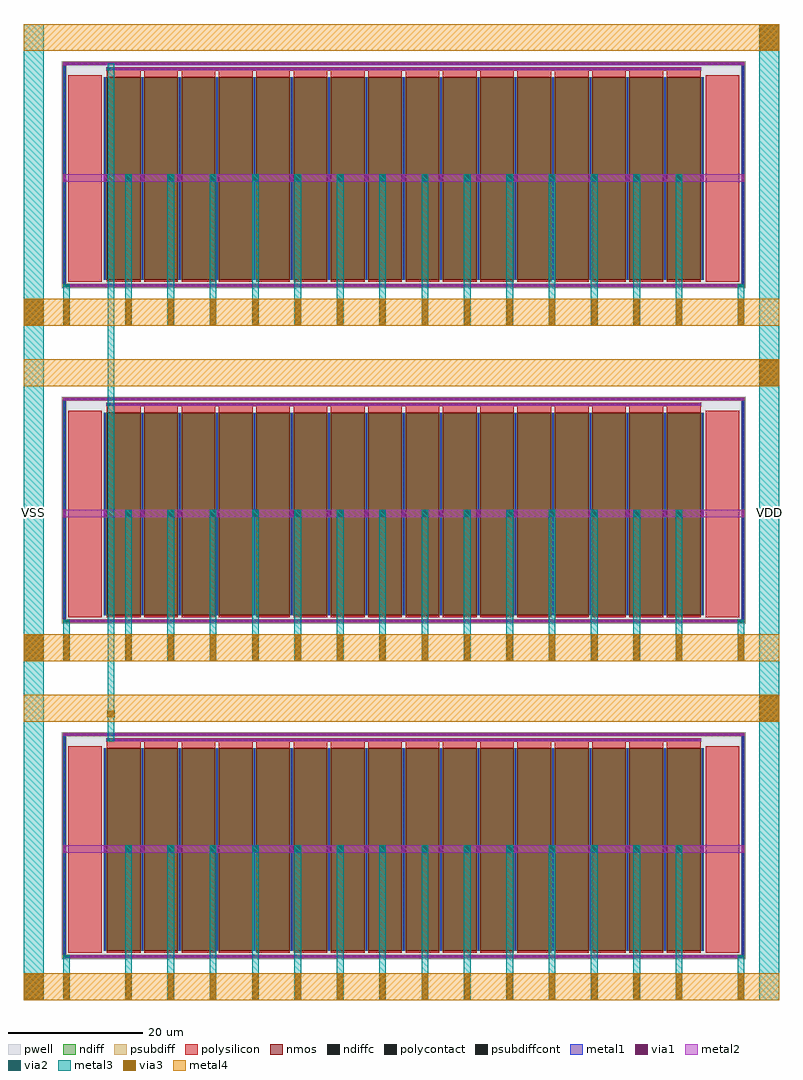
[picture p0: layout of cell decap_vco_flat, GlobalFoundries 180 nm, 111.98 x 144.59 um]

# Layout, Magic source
magic
tech gf180mcuD
magscale 1 10
<< pwell >>
rect 1132 1212 21396 7939
rect 1132 11152 21396 17879
rect 1132 21092 21396 27819
<< ndiff >>
rect 2380 1460 20148 7460
rect 2380 11400 20148 17400
rect 2380 21340 20148 27340
<< psubdiff >>
rect 1156 1236 21372 1340
rect 1156 7811 21372 7915
rect 1156 1340 1260 7811
rect 21268 1340 21372 7811
rect 1156 11176 21372 11280
rect 1156 17751 21372 17855
rect 1156 11280 1260 17751
rect 21268 11280 21372 17751
rect 1156 21116 21372 21220
rect 1156 27691 21372 27795
rect 1156 21220 1260 27691
rect 21268 21220 21372 27691
<< nmos >>
rect 2469 1460 3469 7460
rect 3575 1460 4575 7460
rect 4681 1460 5681 7460
rect 5787 1460 6787 7460
rect 6893 1460 7893 7460
rect 7999 1460 8999 7460
rect 9105 1460 10105 7460
rect 10211 1460 11211 7460
rect 11317 1460 12317 7460
rect 12423 1460 13423 7460
rect 13529 1460 14529 7460
rect 14635 1460 15635 7460
rect 15741 1460 16741 7460
rect 16847 1460 17847 7460
rect 17953 1460 18953 7460
rect 19059 1460 20059 7460
rect 2469 11400 3469 17400
rect 3575 11400 4575 17400
rect 4681 11400 5681 17400
rect 5787 11400 6787 17400
rect 6893 11400 7893 17400
rect 7999 11400 8999 17400
rect 9105 11400 10105 17400
rect 10211 11400 11211 17400
rect 11317 11400 12317 17400
rect 12423 11400 13423 17400
rect 13529 11400 14529 17400
rect 14635 11400 15635 17400
rect 15741 11400 16741 17400
rect 16847 11400 17847 17400
rect 17953 11400 18953 17400
rect 19059 11400 20059 17400
rect 2469 21340 3469 27340
rect 3575 21340 4575 27340
rect 4681 21340 5681 27340
rect 5787 21340 6787 27340
rect 6893 21340 7893 27340
rect 7999 21340 8999 27340
rect 9105 21340 10105 27340
rect 10211 21340 11211 27340
rect 11317 21340 12317 27340
rect 12423 21340 13423 27340
rect 13529 21340 14529 27340
rect 14635 21340 15635 27340
rect 15741 21340 16741 27340
rect 16847 21340 17847 27340
rect 17953 21340 18953 27340
rect 19059 21340 20059 27340
<< polysilicon >>
rect 2469 7460 3469 7649
rect 3575 7460 4575 7649
rect 4681 7460 5681 7649
rect 5787 7460 6787 7649
rect 6893 7460 7893 7649
rect 7999 7460 8999 7649
rect 9105 7460 10105 7649
rect 10211 7460 11211 7649
rect 11317 7460 12317 7649
rect 12423 7460 13423 7649
rect 13529 7460 14529 7649
rect 14635 7460 15635 7649
rect 15741 7460 16741 7649
rect 16847 7460 17847 7649
rect 17953 7460 18953 7649
rect 19059 7460 20059 7649
rect 2449 7649 20079 7751
rect 2469 1400 3469 1460
rect 3575 1400 4575 1460
rect 4681 1400 5681 1460
rect 5787 1400 6787 1460
rect 6893 1400 7893 1460
rect 7999 1400 8999 1460
rect 9105 1400 10105 1460
rect 10211 1400 11211 1460
rect 11317 1400 12317 1460
rect 12423 1400 13423 1460
rect 13529 1400 14529 1460
rect 14635 1400 15635 1460
rect 15741 1400 16741 1460
rect 16847 1400 17847 1460
rect 17953 1400 18953 1460
rect 19059 1400 20059 1460
rect 1320 1400 2320 7520
rect 20208 1400 21208 7520
rect 2469 17400 3469 17589
rect 3575 17400 4575 17589
rect 4681 17400 5681 17589
rect 5787 17400 6787 17589
rect 6893 17400 7893 17589
rect 7999 17400 8999 17589
rect 9105 17400 10105 17589
rect 10211 17400 11211 17589
rect 11317 17400 12317 17589
rect 12423 17400 13423 17589
rect 13529 17400 14529 17589
rect 14635 17400 15635 17589
rect 15741 17400 16741 17589
rect 16847 17400 17847 17589
rect 17953 17400 18953 17589
rect 19059 17400 20059 17589
rect 2449 17589 20079 17691
rect 2469 11340 3469 11400
rect 3575 11340 4575 11400
rect 4681 11340 5681 11400
rect 5787 11340 6787 11400
rect 6893 11340 7893 11400
rect 7999 11340 8999 11400
rect 9105 11340 10105 11400
rect 10211 11340 11211 11400
rect 11317 11340 12317 11400
rect 12423 11340 13423 11400
rect 13529 11340 14529 11400
rect 14635 11340 15635 11400
rect 15741 11340 16741 11400
rect 16847 11340 17847 11400
rect 17953 11340 18953 11400
rect 19059 11340 20059 11400
rect 1320 11340 2320 17460
rect 20208 11340 21208 17460
rect 2469 27340 3469 27529
rect 3575 27340 4575 27529
rect 4681 27340 5681 27529
rect 5787 27340 6787 27529
rect 6893 27340 7893 27529
rect 7999 27340 8999 27529
rect 9105 27340 10105 27529
rect 10211 27340 11211 27529
rect 11317 27340 12317 27529
rect 12423 27340 13423 27529
rect 13529 27340 14529 27529
rect 14635 27340 15635 27529
rect 15741 27340 16741 27529
rect 16847 27340 17847 27529
rect 17953 27340 18953 27529
rect 19059 27340 20059 27529
rect 2449 27529 20079 27631
rect 2469 21280 3469 21340
rect 3575 21280 4575 21340
rect 4681 21280 5681 21340
rect 5787 21280 6787 21340
rect 6893 21280 7893 21340
rect 7999 21280 8999 21340
rect 9105 21280 10105 21340
rect 10211 21280 11211 21340
rect 11317 21280 12317 21340
rect 12423 21280 13423 21340
rect 13529 21280 14529 21340
rect 14635 21280 15635 21340
rect 15741 21280 16741 21340
rect 16847 21280 17847 21340
rect 17953 21280 18953 21340
rect 19059 21280 20059 21340
rect 1320 21280 2320 27400
rect 20208 21280 21208 27400
<< ndiffc >>
rect 2393 1473 2439 7447
rect 3499 1473 3545 7447
rect 4605 1473 4651 7447
rect 5711 1473 5757 7447
rect 6817 1473 6863 7447
rect 7923 1473 7969 7447
rect 9029 1473 9075 7447
rect 10135 1473 10181 7447
rect 11241 1473 11287 7447
rect 12347 1473 12393 7447
rect 13453 1473 13499 7447
rect 14559 1473 14605 7447
rect 15665 1473 15711 7447
rect 16771 1473 16817 7447
rect 17877 1473 17923 7447
rect 18983 1473 19029 7447
rect 20089 1473 20135 7447
rect 2393 11413 2439 17387
rect 3499 11413 3545 17387
rect 4605 11413 4651 17387
rect 5711 11413 5757 17387
rect 6817 11413 6863 17387
rect 7923 11413 7969 17387
rect 9029 11413 9075 17387
rect 10135 11413 10181 17387
rect 11241 11413 11287 17387
rect 12347 11413 12393 17387
rect 13453 11413 13499 17387
rect 14559 11413 14605 17387
rect 15665 11413 15711 17387
rect 16771 11413 16817 17387
rect 17877 11413 17923 17387
rect 18983 11413 19029 17387
rect 20089 11413 20135 17387
rect 2393 21353 2439 27327
rect 3499 21353 3545 27327
rect 4605 21353 4651 27327
rect 5711 21353 5757 27327
rect 6817 21353 6863 27327
rect 7923 21353 7969 27327
rect 9029 21353 9075 27327
rect 10135 21353 10181 27327
rect 11241 21353 11287 27327
rect 12347 21353 12393 27327
rect 13453 21353 13499 27327
rect 14559 21353 14605 27327
rect 15665 21353 15711 27327
rect 16771 21353 16817 27327
rect 17877 21353 17923 27327
rect 18983 21353 19029 27327
rect 20089 21353 20135 27327
<< psubdiffcont >>
rect 1169 1260 1247 7891
rect 21281 1260 21359 7891
rect 1307 7824 21221 7902
rect 1307 1249 21221 1327
rect 1169 11200 1247 17831
rect 21281 11200 21359 17831
rect 1307 17764 21221 17842
rect 1307 11189 21221 11267
rect 1169 21140 1247 27771
rect 21281 21140 21359 27771
rect 1307 27704 21221 27782
rect 1307 21129 21221 21207
<< polycontact >>
rect 2462 7662 20066 7738
rect 2462 17602 20066 17678
rect 2462 27542 20066 27618
<< metal1 >>
rect 2393 1462 2439 7458
rect 3499 1462 3545 7458
rect 4605 1462 4651 7458
rect 5711 1462 5757 7458
rect 6817 1462 6863 7458
rect 7923 1462 7969 7458
rect 9029 1462 9075 7458
rect 10135 1462 10181 7458
rect 11241 1462 11287 7458
rect 12347 1462 12393 7458
rect 13453 1462 13499 7458
rect 14559 1462 14605 7458
rect 15665 1462 15711 7458
rect 16771 1462 16817 7458
rect 17877 1462 17923 7458
rect 18983 1462 19029 7458
rect 20089 1462 20135 7458
rect 2378 4368 2454 4592
rect 3484 4368 3560 4592
rect 4590 4368 4666 4592
rect 5696 4368 5772 4592
rect 6802 4368 6878 4592
rect 7908 4368 7984 4592
rect 9014 4368 9090 4592
rect 10120 4368 10196 4592
rect 11226 4368 11302 4592
rect 12332 4368 12408 4592
rect 13438 4368 13514 4592
rect 14544 4368 14620 4592
rect 15650 4368 15726 4592
rect 16756 4368 16832 4592
rect 17862 4368 17938 4592
rect 18968 4368 19044 4592
rect 20074 4368 20150 4592
rect 2451 7662 20077 7738
rect 1169 1249 21359 1327
rect 1169 7824 21359 7902
rect 1169 1249 1247 7902
rect 21281 1249 21359 7902
rect 1169 1249 21359 1327
rect 1169 7824 21359 7902
rect 2393 11402 2439 17398
rect 3499 11402 3545 17398
rect 4605 11402 4651 17398
rect 5711 11402 5757 17398
rect 6817 11402 6863 17398
rect 7923 11402 7969 17398
rect 9029 11402 9075 17398
rect 10135 11402 10181 17398
rect 11241 11402 11287 17398
rect 12347 11402 12393 17398
rect 13453 11402 13499 17398
rect 14559 11402 14605 17398
rect 15665 11402 15711 17398
rect 16771 11402 16817 17398
rect 17877 11402 17923 17398
rect 18983 11402 19029 17398
rect 20089 11402 20135 17398
rect 2378 14308 2454 14532
rect 3484 14308 3560 14532
rect 4590 14308 4666 14532
rect 5696 14308 5772 14532
rect 6802 14308 6878 14532
rect 7908 14308 7984 14532
rect 9014 14308 9090 14532
rect 10120 14308 10196 14532
rect 11226 14308 11302 14532
rect 12332 14308 12408 14532
rect 13438 14308 13514 14532
rect 14544 14308 14620 14532
rect 15650 14308 15726 14532
rect 16756 14308 16832 14532
rect 17862 14308 17938 14532
rect 18968 14308 19044 14532
rect 20074 14308 20150 14532
rect 2451 17602 20077 17678
rect 1169 11189 21359 11267
rect 1169 17764 21359 17842
rect 1169 11189 1247 17842
rect 21281 11189 21359 17842
rect 1169 11189 21359 11267
rect 1169 17764 21359 17842
rect 2393 21342 2439 27338
rect 3499 21342 3545 27338
rect 4605 21342 4651 27338
rect 5711 21342 5757 27338
rect 6817 21342 6863 27338
rect 7923 21342 7969 27338
rect 9029 21342 9075 27338
rect 10135 21342 10181 27338
rect 11241 21342 11287 27338
rect 12347 21342 12393 27338
rect 13453 21342 13499 27338
rect 14559 21342 14605 27338
rect 15665 21342 15711 27338
rect 16771 21342 16817 27338
rect 17877 21342 17923 27338
rect 18983 21342 19029 27338
rect 20089 21342 20135 27338
rect 2378 24248 2454 24472
rect 3484 24248 3560 24472
rect 4590 24248 4666 24472
rect 5696 24248 5772 24472
rect 6802 24248 6878 24472
rect 7908 24248 7984 24472
rect 9014 24248 9090 24472
rect 10120 24248 10196 24472
rect 11226 24248 11302 24472
rect 12332 24248 12408 24472
rect 13438 24248 13514 24472
rect 14544 24248 14620 24472
rect 15650 24248 15726 24472
rect 16756 24248 16832 24472
rect 17862 24248 17938 24472
rect 18968 24248 19044 24472
rect 20074 24248 20150 24472
rect 2451 27542 20077 27618
rect 1169 21129 21359 21207
rect 1169 27704 21359 27782
rect 1169 21129 1247 27782
rect 21281 21129 21359 27782
rect 1169 21129 21359 21207
rect 1169 27704 21359 27782
<< metal2 >>
rect 1169 1249 1369 1327
rect 21159 1249 21359 1327
rect 1169 11189 1369 11267
rect 21159 11189 21359 11267
rect 1169 21129 1369 21207
rect 21159 21129 21359 21207
rect 2482 7662 2558 7738
rect 2482 17602 2558 17678
rect 2482 27542 2558 27618
rect 2462 7662 20066 7738
rect 1169 1249 21359 1327
rect 1169 7824 21359 7902
rect 1169 4368 21359 4592
rect 2462 17602 20066 17678
rect 1169 11189 21359 11267
rect 1169 17764 21359 17842
rect 1169 14308 21359 14532
rect 2462 27542 20066 27618
rect 1169 21129 21359 21207
rect 1169 27704 21359 27782
rect 1169 24248 21359 24472
<< metal3 >>
rect 0 0 600 28919
rect 21796 0 22396 28919
rect 1169 0 1369 1327
rect 21159 0 21359 1327
rect 3006 0 3206 4592
rect 4261 0 4461 4592
rect 5516 0 5716 4592
rect 6771 0 6971 4592
rect 8026 0 8226 4592
rect 9281 0 9481 4592
rect 10536 0 10736 4592
rect 11792 0 11992 4592
rect 13047 0 13247 4592
rect 14302 0 14502 4592
rect 15557 0 15757 4592
rect 16812 0 17012 4592
rect 18067 0 18267 4592
rect 19322 0 19522 4592
rect 1169 10039 1369 11267
rect 21159 10039 21359 11267
rect 3006 10039 3206 14532
rect 4261 10039 4461 14532
rect 5516 10039 5716 14532
rect 6771 10039 6971 14532
rect 8026 10039 8226 14532
rect 9281 10039 9481 14532
rect 10536 10039 10736 14532
rect 11792 10039 11992 14532
rect 13047 10039 13247 14532
rect 14302 10039 14502 14532
rect 15557 10039 15757 14532
rect 16812 10039 17012 14532
rect 18067 10039 18267 14532
rect 19322 10039 19522 14532
rect 1169 19979 1369 21207
rect 21159 19979 21359 21207
rect 3006 19979 3206 24472
rect 4261 19979 4461 24472
rect 5516 19979 5716 24472
rect 6771 19979 6971 24472
rect 8026 19979 8226 24472
rect 9281 19979 9481 24472
rect 10536 19979 10736 24472
rect 11792 19979 11992 24472
rect 13047 19979 13247 24472
rect 14302 19979 14502 24472
rect 15557 19979 15757 24472
rect 16812 19979 17012 24472
rect 18067 19979 18267 24472
rect 19322 19979 19522 24472
rect 2482 7662 2558 7738
rect 2490 7670 2690 8010
rect 2490 7810 2690 8150
rect 2490 7950 2690 8290
rect 2490 8090 2690 8430
rect 2490 8230 2690 8570
rect 2482 8362 2698 8578
rect 2490 7670 2690 7870
rect 2490 7810 2690 8010
rect 2490 7950 2690 8150
rect 2490 8090 2690 8290
rect 2490 8230 2690 8430
rect 2490 8370 2690 8570
rect 2482 17602 2558 17678
rect 2490 17470 2690 17810
rect 2490 17330 2690 17670
rect 2490 17190 2690 17530
rect 2490 17050 2690 17390
rect 2490 16910 2690 17250
rect 2490 16770 2690 17110
rect 2490 16630 2690 16970
rect 2490 16490 2690 16830
rect 2490 16350 2690 16690
rect 2490 16210 2690 16550
rect 2490 16070 2690 16410
rect 2490 15930 2690 16270
rect 2490 15790 2690 16130
rect 2490 15650 2690 15990
rect 2490 15510 2690 15850
rect 2490 15370 2690 15710
rect 2490 15230 2690 15570
rect 2490 15090 2690 15430
rect 2490 14950 2690 15290
rect 2490 14810 2690 15150
rect 2490 14670 2690 15010
rect 2490 14530 2690 14870
rect 2490 14390 2690 14730
rect 2490 14250 2690 14590
rect 2490 14110 2690 14450
rect 2490 13970 2690 14310
rect 2490 13830 2690 14170
rect 2490 13690 2690 14030
rect 2490 13550 2690 13890
rect 2490 13410 2690 13750
rect 2490 13270 2690 13610
rect 2490 13130 2690 13470
rect 2490 12990 2690 13330
rect 2490 12850 2690 13190
rect 2490 12710 2690 13050
rect 2490 12570 2690 12910
rect 2490 12430 2690 12770
rect 2490 12290 2690 12630
rect 2490 12150 2690 12490
rect 2490 12010 2690 12350
rect 2490 11870 2690 12210
rect 2490 11730 2690 12070
rect 2490 11590 2690 11930
rect 2490 11450 2690 11790
rect 2490 11310 2690 11650
rect 2490 11170 2690 11510
rect 2490 11030 2690 11370
rect 2490 10890 2690 11230
rect 2490 10750 2690 11090
rect 2490 10610 2690 10950
rect 2490 10470 2690 10810
rect 2490 10330 2690 10670
rect 2490 10190 2690 10530
rect 2490 10050 2690 10390
rect 2490 9910 2690 10250
rect 2490 9770 2690 10110
rect 2490 9630 2690 9970
rect 2490 9490 2690 9830
rect 2490 9350 2690 9690
rect 2490 9210 2690 9550
rect 2490 9070 2690 9410
rect 2490 8930 2690 9270
rect 2490 8790 2690 9130
rect 2490 8650 2690 8990
rect 2490 8510 2690 8850
rect 2490 8370 2690 8710
rect 2490 17610 2690 17810
rect 2490 17470 2690 17670
rect 2490 17330 2690 17530
rect 2490 17190 2690 17390
rect 2490 17050 2690 17250
rect 2490 16910 2690 17110
rect 2490 16770 2690 16970
rect 2490 16630 2690 16830
rect 2490 16490 2690 16690
rect 2490 16350 2690 16550
rect 2490 16210 2690 16410
rect 2490 16070 2690 16270
rect 2490 15930 2690 16130
rect 2490 15790 2690 15990
rect 2490 15650 2690 15850
rect 2490 15510 2690 15710
rect 2490 15370 2690 15570
rect 2490 15230 2690 15430
rect 2490 15090 2690 15290
rect 2490 14950 2690 15150
rect 2490 14810 2690 15010
rect 2490 14670 2690 14870
rect 2490 14530 2690 14730
rect 2490 14390 2690 14590
rect 2490 14250 2690 14450
rect 2490 14110 2690 14310
rect 2490 13970 2690 14170
rect 2490 13830 2690 14030
rect 2490 13690 2690 13890
rect 2490 13550 2690 13750
rect 2490 13410 2690 13610
rect 2490 13270 2690 13470
rect 2490 13130 2690 13330
rect 2490 12990 2690 13190
rect 2490 12850 2690 13050
rect 2490 12710 2690 12910
rect 2490 12570 2690 12770
rect 2490 12430 2690 12630
rect 2490 12290 2690 12490
rect 2490 12150 2690 12350
rect 2490 12010 2690 12210
rect 2490 11870 2690 12070
rect 2490 11730 2690 11930
rect 2490 11590 2690 11790
rect 2490 11450 2690 11650
rect 2490 11310 2690 11510
rect 2490 11170 2690 11370
rect 2490 11030 2690 11230
rect 2490 10890 2690 11090
rect 2490 10750 2690 10950
rect 2490 10610 2690 10810
rect 2490 10470 2690 10670
rect 2490 10330 2690 10530
rect 2490 10190 2690 10390
rect 2490 10050 2690 10250
rect 2490 9910 2690 10110
rect 2490 9770 2690 9970
rect 2490 9630 2690 9830
rect 2490 9490 2690 9690
rect 2490 9350 2690 9550
rect 2490 9210 2690 9410
rect 2490 9070 2690 9270
rect 2490 8930 2690 9130
rect 2490 8790 2690 8990
rect 2490 8650 2690 8850
rect 2490 8510 2690 8710
rect 2490 8370 2690 8570
rect 2482 27542 2558 27618
rect 2490 27410 2690 27750
rect 2490 27270 2690 27610
rect 2490 27130 2690 27470
rect 2490 26990 2690 27330
rect 2490 26850 2690 27190
rect 2490 26710 2690 27050
rect 2490 26570 2690 26910
rect 2490 26430 2690 26770
rect 2490 26290 2690 26630
rect 2490 26150 2690 26490
rect 2490 26010 2690 26350
rect 2490 25870 2690 26210
rect 2490 25730 2690 26070
rect 2490 25590 2690 25930
rect 2490 25450 2690 25790
rect 2490 25310 2690 25650
rect 2490 25170 2690 25510
rect 2490 25030 2690 25370
rect 2490 24890 2690 25230
rect 2490 24750 2690 25090
rect 2490 24610 2690 24950
rect 2490 24470 2690 24810
rect 2490 24330 2690 24670
rect 2490 24190 2690 24530
rect 2490 24050 2690 24390
rect 2490 23910 2690 24250
rect 2490 23770 2690 24110
rect 2490 23630 2690 23970
rect 2490 23490 2690 23830
rect 2490 23350 2690 23690
rect 2490 23210 2690 23550
rect 2490 23070 2690 23410
rect 2490 22930 2690 23270
rect 2490 22790 2690 23130
rect 2490 22650 2690 22990
rect 2490 22510 2690 22850
rect 2490 22370 2690 22710
rect 2490 22230 2690 22570
rect 2490 22090 2690 22430
rect 2490 21950 2690 22290
rect 2490 21810 2690 22150
rect 2490 21670 2690 22010
rect 2490 21530 2690 21870
rect 2490 21390 2690 21730
rect 2490 21250 2690 21590
rect 2490 21110 2690 21450
rect 2490 20970 2690 21310
rect 2490 20830 2690 21170
rect 2490 20690 2690 21030
rect 2490 20550 2690 20890
rect 2490 20410 2690 20750
rect 2490 20270 2690 20610
rect 2490 20130 2690 20470
rect 2490 19990 2690 20330
rect 2490 19850 2690 20190
rect 2490 19710 2690 20050
rect 2490 19570 2690 19910
rect 2490 19430 2690 19770
rect 2490 19290 2690 19630
rect 2490 19150 2690 19490
rect 2490 19010 2690 19350
rect 2490 18870 2690 19210
rect 2490 18730 2690 19070
rect 2490 18590 2690 18930
rect 2490 18450 2690 18790
rect 2490 18310 2690 18650
rect 2490 18170 2690 18510
rect 2490 18030 2690 18370
rect 2490 17890 2690 18230
rect 2490 17750 2690 18090
rect 2490 17610 2690 17950
rect 2490 27550 2690 27750
rect 2490 27410 2690 27610
rect 2490 27270 2690 27470
rect 2490 27130 2690 27330
rect 2490 26990 2690 27190
rect 2490 26850 2690 27050
rect 2490 26710 2690 26910
rect 2490 26570 2690 26770
rect 2490 26430 2690 26630
rect 2490 26290 2690 26490
rect 2490 26150 2690 26350
rect 2490 26010 2690 26210
rect 2490 25870 2690 26070
rect 2490 25730 2690 25930
rect 2490 25590 2690 25790
rect 2490 25450 2690 25650
rect 2490 25310 2690 25510
rect 2490 25170 2690 25370
rect 2490 25030 2690 25230
rect 2490 24890 2690 25090
rect 2490 24750 2690 24950
rect 2490 24610 2690 24810
rect 2490 24470 2690 24670
rect 2490 24330 2690 24530
rect 2490 24190 2690 24390
rect 2490 24050 2690 24250
rect 2490 23910 2690 24110
rect 2490 23770 2690 23970
rect 2490 23630 2690 23830
rect 2490 23490 2690 23690
rect 2490 23350 2690 23550
rect 2490 23210 2690 23410
rect 2490 23070 2690 23270
rect 2490 22930 2690 23130
rect 2490 22790 2690 22990
rect 2490 22650 2690 22850
rect 2490 22510 2690 22710
rect 2490 22370 2690 22570
rect 2490 22230 2690 22430
rect 2490 22090 2690 22290
rect 2490 21950 2690 22150
rect 2490 21810 2690 22010
rect 2490 21670 2690 21870
rect 2490 21530 2690 21730
rect 2490 21390 2690 21590
rect 2490 21250 2690 21450
rect 2490 21110 2690 21310
rect 2490 20970 2690 21170
rect 2490 20830 2690 21030
rect 2490 20690 2690 20890
rect 2490 20550 2690 20750
rect 2490 20410 2690 20610
rect 2490 20270 2690 20470
rect 2490 20130 2690 20330
rect 2490 19990 2690 20190
rect 2490 19850 2690 20050
rect 2490 19710 2690 19910
rect 2490 19570 2690 19770
rect 2490 19430 2690 19630
rect 2490 19290 2690 19490
rect 2490 19150 2690 19350
rect 2490 19010 2690 19210
rect 2490 18870 2690 19070
rect 2490 18730 2690 18930
rect 2490 18590 2690 18790
rect 2490 18450 2690 18650
rect 2490 18310 2690 18510
rect 2490 18170 2690 18370
rect 2490 18030 2690 18230
rect 2490 17890 2690 18090
rect 2490 17750 2690 17950
rect 2490 17610 2690 17810
<< metal4 >>
rect 0 0 22396 800
rect 0 8239 22396 9039
rect 0 10039 22396 10839
rect 0 18179 22396 18979
rect 0 19979 22396 20779
rect 0 28119 22396 28919
rect 2482 8362 2698 8578
rect 2490 8370 2690 8570
<< via1 >>
rect 2390 4380 2442 4580
rect 3496 4380 3548 4580
rect 4602 4380 4654 4580
rect 5708 4380 5760 4580
rect 6814 4380 6866 4580
rect 7920 4380 7972 4580
rect 9026 4380 9078 4580
rect 10132 4380 10184 4580
rect 11238 4380 11290 4580
rect 12344 4380 12396 4580
rect 13450 4380 13502 4580
rect 14556 4380 14608 4580
rect 15662 4380 15714 4580
rect 16768 4380 16820 4580
rect 17874 4380 17926 4580
rect 18980 4380 19032 4580
rect 20086 4380 20138 4580
rect 2474 7674 20054 7726
rect 1181 1261 21347 1315
rect 1181 7836 21347 7890
rect 1182 4380 1234 4580
rect 21294 4380 21346 4580
rect 2390 14320 2442 14520
rect 3496 14320 3548 14520
rect 4602 14320 4654 14520
rect 5708 14320 5760 14520
rect 6814 14320 6866 14520
rect 7920 14320 7972 14520
rect 9026 14320 9078 14520
rect 10132 14320 10184 14520
rect 11238 14320 11290 14520
rect 12344 14320 12396 14520
rect 13450 14320 13502 14520
rect 14556 14320 14608 14520
rect 15662 14320 15714 14520
rect 16768 14320 16820 14520
rect 17874 14320 17926 14520
rect 18980 14320 19032 14520
rect 20086 14320 20138 14520
rect 2474 17614 20054 17666
rect 1181 11201 21347 11255
rect 1181 17776 21347 17830
rect 1182 14320 1234 14520
rect 21294 14320 21346 14520
rect 2390 24260 2442 24460
rect 3496 24260 3548 24460
rect 4602 24260 4654 24460
rect 5708 24260 5760 24460
rect 6814 24260 6866 24460
rect 7920 24260 7972 24460
rect 9026 24260 9078 24460
rect 10132 24260 10184 24460
rect 11238 24260 11290 24460
rect 12344 24260 12396 24460
rect 13450 24260 13502 24460
rect 14556 24260 14608 24460
rect 15662 24260 15714 24460
rect 16768 24260 16820 24460
rect 17874 24260 17926 24460
rect 18980 24260 19032 24460
rect 20086 24260 20138 24460
rect 2474 27554 20054 27606
rect 1181 21141 21347 21195
rect 1181 27716 21347 27770
rect 1182 24260 1234 24460
rect 21294 24260 21346 24460
<< via2 >>
rect 1189 1260 1349 1316
rect 21179 1260 21339 1316
rect 3026 4379 3186 4581
rect 4281 4379 4441 4581
rect 5536 4379 5696 4581
rect 6791 4379 6951 4581
rect 8046 4379 8206 4581
rect 9301 4379 9461 4581
rect 10556 4379 10716 4581
rect 11812 4379 11972 4581
rect 13067 4379 13227 4581
rect 14322 4379 14482 4581
rect 15577 4379 15737 4581
rect 16832 4379 16992 4581
rect 18087 4379 18247 4581
rect 19342 4379 19502 4581
rect 1189 11200 1349 11256
rect 21179 11200 21339 11256
rect 3026 14319 3186 14521
rect 4281 14319 4441 14521
rect 5536 14319 5696 14521
rect 6791 14319 6951 14521
rect 8046 14319 8206 14521
rect 9301 14319 9461 14521
rect 10556 14319 10716 14521
rect 11812 14319 11972 14521
rect 13067 14319 13227 14521
rect 14322 14319 14482 14521
rect 15577 14319 15737 14521
rect 16832 14319 16992 14521
rect 18087 14319 18247 14521
rect 19342 14319 19502 14521
rect 1189 21140 1349 21196
rect 21179 21140 21339 21196
rect 3026 24259 3186 24461
rect 4281 24259 4441 24461
rect 5536 24259 5696 24461
rect 6791 24259 6951 24461
rect 8046 24259 8206 24461
rect 9301 24259 9461 24461
rect 10556 24259 10716 24461
rect 11812 24259 11972 24461
rect 13067 24259 13227 24461
rect 14322 24259 14482 24461
rect 15577 24259 15737 24461
rect 16832 24259 16992 24461
rect 18087 24259 18247 24461
rect 19342 24259 19502 24461
rect 2492 7672 2548 7728
rect 2492 17612 2548 17668
rect 2492 27552 2548 27608
<< via3 >>
rect 20 20 580 780
rect 20 10059 580 10819
rect 20 19999 580 20759
rect 21816 8259 22376 9019
rect 21816 18199 22376 18959
rect 21816 28139 22376 28899
rect 1189 20 1349 780
rect 21179 20 21339 780
rect 3026 20 3186 780
rect 4281 20 4441 780
rect 5536 20 5696 780
rect 6791 20 6951 780
rect 8046 20 8206 780
rect 9301 20 9461 780
rect 10556 20 10716 780
rect 11812 20 11972 780
rect 13067 20 13227 780
rect 14322 20 14482 780
rect 15577 20 15737 780
rect 16832 20 16992 780
rect 18087 20 18247 780
rect 19342 20 19502 780
rect 1189 10059 1349 10819
rect 21179 10059 21339 10819
rect 3026 10059 3186 10819
rect 4281 10059 4441 10819
rect 5536 10059 5696 10819
rect 6791 10059 6951 10819
rect 8046 10059 8206 10819
rect 9301 10059 9461 10819
rect 10556 10059 10716 10819
rect 11812 10059 11972 10819
rect 13067 10059 13227 10819
rect 14322 10059 14482 10819
rect 15577 10059 15737 10819
rect 16832 10059 16992 10819
rect 18087 10059 18247 10819
rect 19342 10059 19502 10819
rect 1189 19999 1349 20759
rect 21179 19999 21339 20759
rect 3026 19999 3186 20759
rect 4281 19999 4441 20759
rect 5536 19999 5696 20759
rect 6791 19999 6951 20759
rect 8046 19999 8206 20759
rect 9301 19999 9461 20759
rect 10556 19999 10716 20759
rect 11812 19999 11972 20759
rect 13067 19999 13227 20759
rect 14322 19999 14482 20759
rect 15577 19999 15737 20759
rect 16832 19999 16992 20759
rect 18087 19999 18247 20759
rect 19342 19999 19502 20759
rect 2492 8372 2688 8568
<< labels >>
flabel metal3 s 0 0 600 28919 0 FreeSans 80 0 0 0 VSS
port 1 nsew signal bidirectional
flabel metal3 s 21796 0 22396 28919 0 FreeSans 80 0 0 0 VDD
port 2 nsew signal bidirectional
<< end >>
